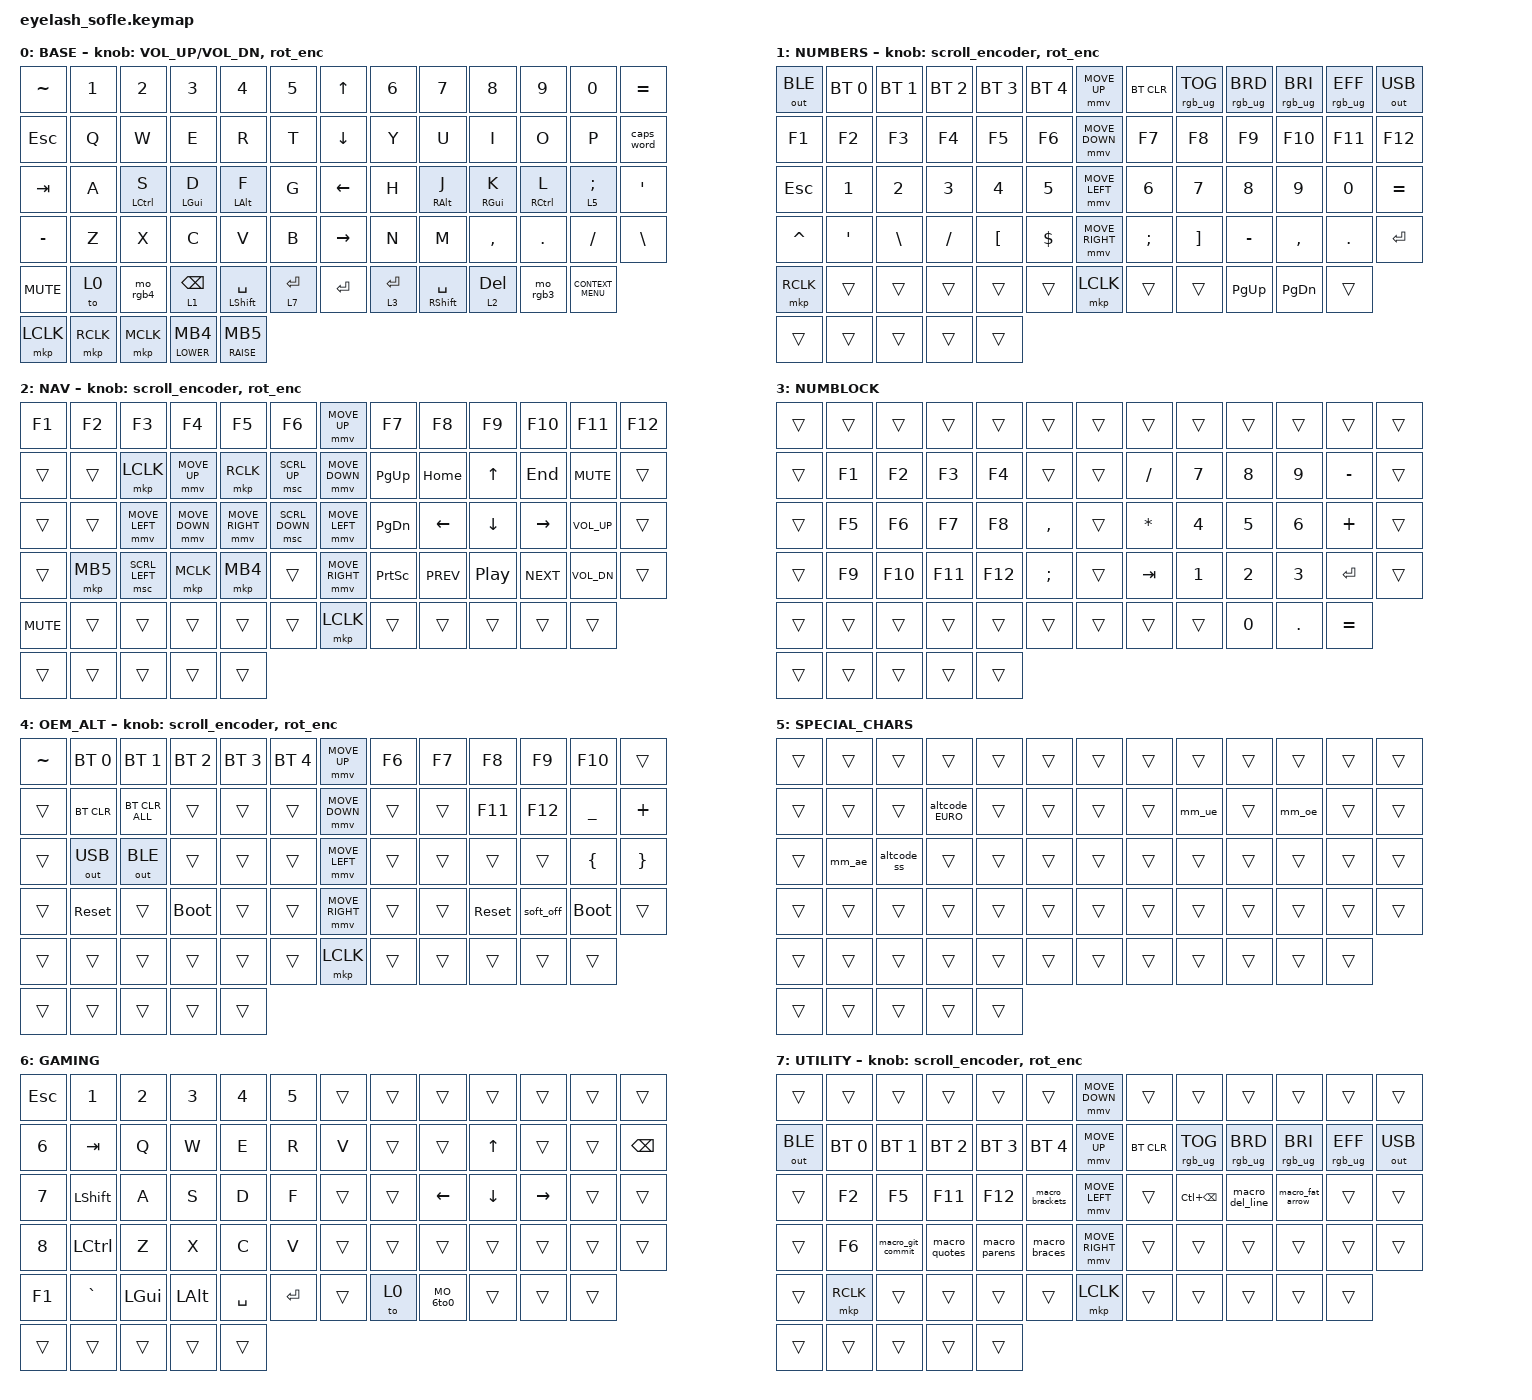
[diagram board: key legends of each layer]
#define ZMK_POINTING_DEFAULT_MOVE_VAL 1200  // 600
#define ZMK_POINTING_DEFAULT_SCRL_VAL 25   // 10

#include <input/processors.dtsi>
#include <zephyr/dt-bindings/input/input-event-codes.h>
#include <behaviors.dtsi>
#include <dt-bindings/zmk/bt.h>
#include <dt-bindings/zmk/keys.h>
#include <dt-bindings/zmk/outputs.h>
#include <dt-bindings/zmk/matrix_transform.h>
#include <dt-bindings/zmk/pointing.h>
#include <dt-bindings/zmk/rgb.h>

#define BASE 0
#define LOWER 1
#define RAISE 2
#define ADJUST 3

/ {
    default_transform: keymap_transform_0 {
        compatible = "zmk,matrix-transform";
        columns = <14>;
        rows = <6>;
        map = <
            RC(0,0) RC(0,1) RC(0,2) RC(0,3) RC(0,4) RC(0,5)  RC(0,7) RC(0,8) RC(0,9) RC(0,10) RC(0,11) RC(0,12) RC(0,13)
            RC(1,0) RC(1,1) RC(1,2) RC(1,3) RC(1,4) RC(1,5)  RC(1,7) RC(1,8) RC(1,9) RC(1,10) RC(1,11) RC(1,12) RC(1,13)
            RC(2,0) RC(2,1) RC(2,2) RC(2,3) RC(2,4) RC(2,5)  RC(2,7) RC(2,8) RC(2,9) RC(2,10) RC(2,11) RC(2,12) RC(2,13)
            RC(3,0) RC(3,1) RC(3,2) RC(3,3) RC(3,4) RC(3,5)  RC(3,7) RC(3,8) RC(3,9) RC(3,10) RC(3,11) RC(3,12) RC(3,13)
            RC(4,0) RC(4,1) RC(4,2) RC(4,3) RC(4,4) RC(4,5)  RC(4,7) RC(4,8) RC(4,9) RC(4,10) RC(4,11) RC(4,12)
            RC(5,0) RC(5,1) RC(5,2) RC(5,3) RC(5,4)
        >;
    };
};

&mmv_input_listener { input-processors = <&zip_xy_scaler 2 1>; };

&msc_input_listener { input-processors = <&zip_scroll_scaler 2 1>; };

&msc {
    acceleration-exponent = <1>;      // 0
    time-to-max-speed-ms = <100>;       // 300
    delay-ms = <0>;                   // 0
};

&mmv {
    time-to-max-speed-ms = <500>;
    acceleration-exponent = <2>;
    trigger-period-ms = <16>;
};

&mt {
    flavor = "balanced";
    quick-tap-ms = <175>;
    tapping-term-ms = <300>;
    require-prior-idle-ms = <150>;
};

&lt {
    flavor = "balanced";
    quick-tap-ms = <175>;
    tapping-term-ms = <300>;
    require-prior-idle-ms = <150>;
};

/ {
    scroll_encoder: scroll_encoder {
        compatible = "zmk,behavior-sensor-rotate";
        #sensor-binding-cells = <0>;
        bindings = <&msc SCRL_DOWN>, <&msc SCRL_UP>;

        tap-ms = <100>;
    };

    rot_enc: sensor_rotate_ufa {
        compatible = "zmk,behavior-sensor-rotate";
        #sensor-binding-cells = <0>;
        bindings = <&ec_s MOVE_Y(-37)>, <&ec_s MOVE_Y(37)>;
        tap-ms = <65>;
    };

    behaviors {
        u_lt_mouse: u_lt_mouse {
            compatible = "zmk,behavior-hold-tap";
            #binding-cells = <2>;
            tapping-term-ms = <200>;
            quick-tap-ms = <200>;
            flavor = "tap-preferred";
            bindings = <&mo>, <&mkp>;
        };

        ec_s: mouse_scroll {
            compatible = "zmk,behavior-input-two-axis";
            #binding-cells = <1>;
            trigger-period-ms = <3>;
            x-input-code = <INPUT_REL_HWHEEL>;
            y-input-code = <INPUT_REL_WHEEL>;
            time-to-max-speed-ms = <100>;
            acceleration-exponent = <0>;
        };
        mm_ae: mm_ae {
            compatible = "zmk,behavior-mod-morph";
            #binding-cells = <0>;
            bindings = <&altcode_ae>, <&altcode_ae_upper>;
            mods = <(MOD_LSFT | MOD_RSFT)>;
        };

        mm_oe: mm_oe {
            compatible = "zmk,behavior-mod-morph";
            #binding-cells = <0>;
            bindings = <&altcode_oe>, <&altcode_oe_upper>;
            mods = <(MOD_LSFT | MOD_RSFT)>;
        };

        mm_ue: mm_ue {
            compatible = "zmk,behavior-mod-morph";
            #binding-cells = <0>;
            bindings = <&altcode_ue>, <&altcode_ue_upper>;
            mods = <(MOD_LSFT | MOD_RSFT)>;
        };
    };

    combos {
        compatible = "zmk,combos";

        combo_n1 {
            bindings = <&kp N1>;
            key-positions = <14 27>;
            layers = <0>;
        };
        combo_n2 {
            bindings = <&kp N2>;
            key-positions = <15 28>;
            layers = <0>;
        };
        combo_n3 {
            bindings = <&kp N3>;
            key-positions = <16 29>;
            layers = <0>;
        };
        combo_n4 {
            bindings = <&kp N4>;
            key-positions = <17 30>;
            layers = <0>;
        };
        combo_n5 {
            bindings = <&kp N5>;
            key-positions = <18 31>;
            layers = <0>;
        };
        combo_n6 {
            bindings = <&kp N6>;
            key-positions = <20 33>;
            layers = <0>;
        };
        combo_n7 {
            bindings = <&kp N7>;
            key-positions = <21 34>;
            layers = <0>;
        };
        combo_n8 {
            bindings = <&kp N8>;
            key-positions = <22 35>;
            layers = <0>;
        };
        combo_n9 {
            bindings = <&kp N9>;
            key-positions = <23 36>;
            layers = <0>;
        };
        combo_n0 {
            bindings = <&kp N0>;
            key-positions = <24 37>;
            layers = <0>;
        };

        combo_esc {
            bindings = <&kp ESC>;
            key-positions = <17 18>;
            layers = <0>;
        };
        combo_tab {
            bindings = <&kp TAB>;
            key-positions = <30 31>;
            layers = <0>;
        };
        combo_grave {
            bindings = <&kp GRAVE>;
            key-positions = <28 41>;
            layers = <0>;
        };
        combo_equal {
            bindings = <&kp EQUAL>;
            key-positions = <29 42>;
            layers = <0>;
        };
        combo_lbkt {
            bindings = <&kp LBKT>;
            key-positions = <30 43>;
            layers = <0>;
        };

        combo_rbkt {
            bindings = <&kp RBKT>;
            key-positions = <34 47>;
            layers = <0>;
        };
        combo_minus {
            bindings = <&kp MINUS>;
            key-positions = <33 34>;
            layers = <0>;
        };
        combo_bslh {
            bindings = <&kp BSLH>;
            key-positions = <35 48>;
            layers = <0>;
        };
        combo_sqt {
            bindings = <&kp SQT>;
            key-positions = <36 49>;
            layers = <0>;
        };
        combo_capsword {
            bindings = <&caps_word>;
            key-positions = <46 47>;
            layers = <0>;
        };

        combo_delword {
            bindings = <&kp LC(BSPC)>;
            key-positions = <20 21>;
            layers = <0>;
        };

        combo_hardrefresh {
            bindings = <&kp LC(LS(R))>;
            key-positions = <43 44>;
            layers = <0>;
        };

        Escape_0 {
            bindings = <&to 0>;
            key-positions = <0 57>;
        };

        GT_6 {
            bindings = <&to 6>;
            key-positions = <57 1>;
        };
    };

    macros {
        mo_rgb1: mo_rgb1 {
            compatible = "zmk,behavior-macro";
            #binding-cells = <0>;
            bindings =
                <&rgb_ug RGB_COLOR_HSB(122,100,50) &mo 1>,
                <&macro_pause_for_release>,
                <&rgb_ug RGB_COLOR_HSB(179,100,50)>;

            label = "MO_RGB1";
        };

        mo_rgb2: mo_rgb2 {
            compatible = "zmk,behavior-macro";
            #binding-cells = <0>;
            bindings =
                <&rgb_ug RGB_COLOR_HSB(289,100,50) &mo 2>,
                <&macro_pause_for_release>,
                <&rgb_ug RGB_COLOR_HSB(179,100,50)>;

            label = "MO_RGB2";
        };

        mo_rgb3: mo_rgb3 {
            compatible = "zmk,behavior-macro";
            #binding-cells = <0>;
            bindings =
                <&tog 3 &rgb_ug RGB_COLOR_HSB(59,100,50)>,
                <&macro_pause_for_release>,
                <&rgb_ug RGB_COLOR_HSB(179,100,50) &tog 3>;

            label = "MO_RGB3";
        };

        mo_rgb4: mo_rgb4 {
            compatible = "zmk,behavior-macro";
            #binding-cells = <0>;
            bindings =
                <&tog 4 &rgb_ug RGB_COLOR_HSB(360,100,50)>,
                <&macro_pause_for_release>,
                <&rgb_ug RGB_COLOR_HSB(179,100,50) &tog 4>;

            label = "MO_RGB4";
        };

        altcode_ae: new_macro {
            compatible = "zmk,behavior-macro";
            #binding-cells = <0>;
            bindings = <&kt RIGHT_ALT &kp KP_NUMBER_0 &kp KP_NUMBER_2 &kp KP_NUMBER_2 &kp KP_NUMBER_8 &kt RIGHT_ALT>;
            label = "NEW_MACRO";
        };

        altcode_oe: altcode_oe {
            compatible = "zmk,behavior-macro";
            #binding-cells = <0>;
            bindings = <&kt RIGHT_ALT &kp KP_NUMBER_0 &kp KP_NUMBER_2 &kp KP_NUMBER_4 &kp KP_NUMBER_6 &kt RIGHT_ALT>;
            label = "ALTCODE_OE";
        };

        altcode_ue: altcode_ue {
            compatible = "zmk,behavior-macro";
            #binding-cells = <0>;
            bindings = <&kt RIGHT_ALT &kp KP_NUMBER_0 &kp KP_NUMBER_2 &kp KP_NUMBER_5 &kp KP_NUMBER_2 &kt RIGHT_ALT>;
            label = "ALTCODE_UE";
        };

        altcode_ss: altcode_ss {
            compatible = "zmk,behavior-macro";
            #binding-cells = <0>;
            bindings = <&kt RIGHT_ALT &kp KP_NUMBER_0 &kp KP_NUMBER_2 &kp KP_NUMBER_2 &kp KP_NUMBER_3 &kt RIGHT_ALT>;
            label = "ALTCODE_SS";
        };

        MO_6to0: MO_0 {
            compatible = "zmk,behavior-macro";
            #binding-cells = <0>;
            bindings = <&to 0>, <&macro_pause_for_release>, <&to 6>;

            label = "MO_0";
        };

        macro_fat_arrow: macro_fat_arrow {
            compatible = "zmk,behavior-macro";
            #binding-cells = <0>;
            bindings = <&kp LPAR &kp RPAR &kp SPACE &kp EQUAL &kp GT &kp SPACE &kp LBRC &kp RBRC &kp LEFT>;
            label = "MACRO_FAT_ARROW";
        };

        macro_del_line: macro_del_line {
            compatible = "zmk,behavior-macro";
            #binding-cells = <0>;
            bindings = <&kp HOME &kp LS(END) &kp BSPC>;
            label = "MACRO_DEL_LINE";
        };

        macro_quotes: macro_quotes {
            compatible = "zmk,behavior-macro";
            #binding-cells = <0>;
            bindings = <&kp DQT &kp DQT &kp LEFT>;
            label = "MACRO_QUOTES";
        };

        macro_parens: macro_parens {
            compatible = "zmk,behavior-macro";
            #binding-cells = <0>;
            bindings = <&kp LPAR &kp RPAR &kp LEFT>;
            label = "MACRO_PARENS";
        };

        macro_brackets: macro_brackets {
            compatible = "zmk,behavior-macro";
            #binding-cells = <0>;
            bindings = <&kp LBKT &kp RBKT &kp LEFT>;
            label = "MACRO_BRACKETS";
        };

        macro_braces: macro_braces {
            compatible = "zmk,behavior-macro";
            #binding-cells = <0>;
            bindings = <&kp LBRC &kp RBRC &kp LEFT>;
            label = "MACRO_BRACES";
        };

        macro_git_commit: macro_git_commit {
            compatible = "zmk,behavior-macro";
            #binding-cells = <0>;
            bindings = <&kp G &kp I &kp T &kp SPACE &kp C &kp O &kp M &kp M &kp I &kp T &kp SPACE &kp MINUS &kp M &kp SPACE &kp DQT &kp DQT &kp LEFT>;
            label = "MACRO_GIT_COMMIT";
        };

        altcode_ae_upper: altcode_ae_upper {
            compatible = "zmk,behavior-macro";
            #binding-cells = <0>;
            bindings = <&kt RIGHT_ALT &kp KP_NUMBER_0 &kp KP_NUMBER_1 &kp KP_NUMBER_9 &kp KP_NUMBER_6 &kt RIGHT_ALT>;
            label = "ALTCODE_AE_UPPER";
        };

        altcode_oe_upper: altcode_oe_upper {
            compatible = "zmk,behavior-macro";
            #binding-cells = <0>;
            bindings = <&kt RIGHT_ALT &kp KP_NUMBER_0 &kp KP_NUMBER_2 &kp KP_NUMBER_1 &kp KP_NUMBER_4 &kt RIGHT_ALT>;
            label = "ALTCODE_OE_UPPER";
        };

        altcode_ue_upper: altcode_ue_upper {
            compatible = "zmk,behavior-macro";
            #binding-cells = <0>;
            bindings = <&kt RIGHT_ALT &kp KP_NUMBER_0 &kp KP_NUMBER_2 &kp KP_NUMBER_2 &kp KP_NUMBER_0 &kt RIGHT_ALT>;
            label = "ALTCODE_UE_UPPER";
        };

        altcode_EURO: altcode_EURO {
            compatible = "zmk,behavior-macro";
            #binding-cells = <0>;
            bindings = <&kt RIGHT_ALT &kp KP_NUMBER_0 &kp KP_NUMBER_1 &kp KP_NUMBER_2 &kp KP_NUMBER_8 &kt RIGHT_ALT>;
            label = "ALTCODE_EURO";
        };
    };

    keymap {
        compatible = "zmk,keymap";

        layer0 {
            bindings = <
&kp TILDE   &kp N1  &kp N2       &kp N3           &kp N4                &kp N5                  &kp UP_ARROW     &kp N6                 &kp N7                 &kp N8        &kp N9               &kp N0              &kp EQUAL
&kp ESCAPE  &kp Q   &kp W        &kp E            &kp R                 &kp T                   &kp DOWN_ARROW   &kp Y                  &kp U                  &kp I         &kp O                &kp P               &caps_word
&kp TAB     &kp A   &mt LCTRL S  &mt LGUI D       &mt LALT F            &kp G                   &kp LEFT_ARROW   &kp H                  &mt RIGHT_ALT J        &mt RGUI K    &mt RIGHT_CONTROL L  &lt 5 SEMICOLON     &kp SQT
&kp MINUS   &kp Z   &kp X        &kp C            &kp V                 &kp B                   &kp RIGHT_ARROW  &kp N                  &kp M                  &kp COMMA     &kp DOT              &kp FSLH            &kp BACKSLASH
&kp K_MUTE  &to 0   &mo_rgb4     &lt 1 BACKSPACE  &mt LEFT_SHIFT SPACE  &lt 7 ENTER             &kp ENTER        &lt 3 ENTER            &mt RIGHT_SHIFT SPACE  &lt 2 DELETE  &mo_rgb3             &kp K_CONTEXT_MENU
&mkp LCLK  &mkp RCLK  &mkp MCLK  &u_lt_mouse LOWER MB4  &u_lt_mouse RAISE MB5
            >;

            sensor-bindings = <&inc_dec_kp C_VOLUME_UP C_VOL_DN &rot_enc>;
            display-name = "BASE";
        };

        NUMBERS {
            bindings = <
&out OUT_BLE  &bt BT_SEL 0  &bt BT_SEL 1  &bt BT_SEL 2  &bt BT_SEL 3  &bt BT_SEL 4    &mmv MOVE_UP     &bt BT_CLR  &rgb_ug RGB_TOG  &rgb_ug RGB_BRD  &rgb_ug RGB_BRI  &rgb_ug RGB_EFF  &out OUT_USB
&kp F1        &kp F2        &kp F3        &kp F4        &kp F5        &kp F6          &mmv MOVE_DOWN   &kp F7      &kp F8           &kp F9           &kp F10          &kp F11          &kp F12
&kp ESC       &kp N1        &kp N2        &kp N3        &kp N4        &kp N5          &mmv MOVE_LEFT   &kp N6      &kp N7           &kp N8           &kp N9           &kp N0           &kp EQUAL
&kp CARET     &kp APOS      &kp BSLH      &kp FSLH      &kp LBKT      &kp DOLLAR      &mmv MOVE_RIGHT  &kp SEMI    &kp RBKT         &kp MINUS        &kp COMMA        &kp DOT          &kp ENTER
&mkp RCLK     &trans        &trans        &trans        &trans        &trans          &mkp LCLK        &trans      &trans           &kp PAGE_UP      &kp PAGE_DOWN    &trans
&trans &trans &trans &trans &trans
            >;

            sensor-bindings = <&scroll_encoder &rot_enc>;
            display-name = "NUMBERS";
        };

        NAV {
            bindings = <
&kp F1      &kp F2           &kp F3          &kp F4           &kp F5           &kp F6             &mmv MOVE_UP     &kp F7           &kp F8           &kp F9           &kp F10      &kp F11           &kp F12
&trans      &trans           &mkp LCLK       &mmv MOVE_UP     &mkp RCLK        &msc SCRL_UP       &mmv MOVE_DOWN   &kp PG_UP        &kp HOME         &kp UP           &kp END      &kp C_MUTE        &trans
&trans      &trans           &mmv MOVE_LEFT  &mmv MOVE_DOWN   &mmv MOVE_RIGHT  &msc SCRL_DOWN     &mmv MOVE_LEFT   &kp PG_DN        &kp LEFT         &kp DOWN         &kp RIGHT    &kp C_VOL_UP      &trans
&trans      &mkp MB5         &msc SCRL_LEFT  &mkp MCLK        &mkp MB4         &trans             &mmv MOVE_RIGHT  &kp PSCRN        &kp C_PREV       &kp C_PLAY_PAUSE &kp C_NEXT   &kp C_VOL_DN      &trans
&kp C_MUTE  &trans           &trans          &trans           &trans           &trans             &mkp LCLK        &trans           &trans           &trans           &trans       &trans
&trans &trans &trans &trans &trans
            >;

            sensor-bindings = <&scroll_encoder &rot_enc>;
            display-name = "NAV";
        };

        NUMBLOCK {
            bindings = <
&trans  &trans  &trans   &trans   &trans   &trans    &trans  &trans        &trans  &trans  &trans  &trans     &trans
&trans  &kp F1  &kp F2   &kp F3   &kp F4   &trans    &trans  &kp SLASH     &kp N7  &kp N8  &kp N9  &kp MINUS  &trans
&trans  &kp F5  &kp F6   &kp F7   &kp F8   &kp COMMA &trans  &kp ASTERISK  &kp N4  &kp N5  &kp N6  &kp PLUS   &trans
&trans  &kp F9  &kp F10  &kp F11  &kp F12  &kp SEMICOLON    &trans  &kp TAB       &kp N1  &kp N2  &kp N3  &kp ENTER  &trans
&trans  &trans  &trans   &trans   &trans   &trans    &trans  &trans        &trans  &kp N0  &kp DOT &kp EQUAL
&trans &trans &trans &trans &trans
            >;

            display-name = "NUMBLOCK";
        };

        OEM_ALT {
            bindings = <
&kp TILDE  &bt BT_SEL 0  &bt BT_SEL 1    &bt BT_SEL 2  &bt BT_SEL 3  &bt BT_SEL 4    &mmv MOVE_UP     &kp F6  &kp F7  &kp F8      &kp F9     &kp F10      &trans
&trans     &bt BT_CLR    &bt BT_CLR_ALL  &trans        &trans        &trans          &mmv MOVE_DOWN   &trans  &trans  &kp F11     &kp F12    &kp UNDER    &kp PLUS
&trans     &out OUT_USB  &out OUT_BLE    &trans        &trans        &trans          &mmv MOVE_LEFT   &trans  &trans  &trans      &trans     &kp LBRC     &kp RBRC
&trans     &sys_reset    &trans          &bootloader   &trans        &trans          &mmv MOVE_RIGHT  &trans  &trans  &sys_reset  &soft_off  &bootloader  &trans
&trans     &trans        &trans          &trans        &trans        &trans          &mkp LCLK        &trans  &trans  &trans      &trans     &trans
&trans &trans &trans &trans &trans
            >;

            sensor-bindings = <&scroll_encoder &rot_enc>;
            display-name = "OEM_ALT";
        };

        SPECIAL_CHARS {
            bindings = <
&trans  &trans  &trans  &trans  &trans  &trans    &trans  &trans  &trans  &trans  &trans  &trans  &trans
&trans  &trans  &trans  &altcode_EURO  &trans  &trans    &trans  &trans  &mm_ue  &trans  &mm_oe  &trans  &trans
&trans  &mm_ae  &altcode_ss  &trans  &trans  &trans    &trans  &trans  &trans  &trans  &trans  &trans  &trans
&trans  &trans  &trans  &trans  &trans  &trans    &trans  &trans  &trans  &trans  &trans  &trans  &trans
&trans  &trans  &trans  &trans  &trans  &trans    &trans  &trans  &trans  &trans  &trans  &trans
&trans &trans &trans &trans &trans
            >;

            display-name = "SPECIAL_CHARS";
        };

        GAMING {
            bindings = <
&kp ESC  &kp N1     &kp N2    &kp N3    &kp N4     &kp N5       &trans  &trans  &trans    &trans    &trans     &trans  &trans
&kp N6   &kp TAB    &kp Q     &kp W     &kp E      &kp R        &kp V   &trans  &trans    &kp UP    &trans     &trans  &kp BSPC
&kp N7   &kp LSHFT  &kp A     &kp S     &kp D      &kp F        &trans  &trans  &kp LEFT  &kp DOWN  &kp RIGHT  &trans  &trans
&kp N8   &kp LCTRL  &kp Z     &kp X     &kp C      &kp V        &trans  &trans  &trans    &trans    &trans     &trans  &trans
&kp F1   &kp GRAVE  &kp LGUI  &kp LALT  &kp SPACE  &kp ENTER    &trans  &to 0   &MO_6to0  &trans    &trans     &trans
&trans &trans &trans &trans &trans
            >;

            display-name = "GAMING";
        };

        UTILITY {
            bindings = <
&trans        &trans        &trans        &trans        &trans        &trans          &mmv MOVE_DOWN   &trans      &trans           &trans           &trans           &trans           &trans
&out OUT_BLE  &bt BT_SEL 0  &bt BT_SEL 1  &bt BT_SEL 2  &bt BT_SEL 3  &bt BT_SEL 4    &mmv MOVE_UP     &bt BT_CLR  &rgb_ug RGB_TOG  &rgb_ug RGB_BRD  &rgb_ug RGB_BRI  &rgb_ug RGB_EFF  &out OUT_USB
&trans        &kp F2        &kp F5        &kp F11       &kp F12       &macro_brackets &mmv MOVE_LEFT   &trans      &kp LC(BSPC)     &macro_del_line  &macro_fat_arrow &trans           &trans
&trans        &kp F6        &macro_git_commit &macro_quotes &macro_parens &macro_braces   &mmv MOVE_RIGHT  &trans      &trans           &trans           &trans           &trans           &trans
&trans        &mkp RCLK     &trans        &trans        &trans        &trans          &mkp LCLK        &trans      &trans           &trans           &trans           &trans
&trans &trans &trans &trans &trans
            >;

            sensor-bindings = <&scroll_encoder &rot_enc>;
            display-name = "UTILITY";
        };
    };

    conditional_layers {
        compatible = "zmk,conditional-layers";

        layer_2 {
            if-layers = <1 3>;
            then-layer = <4>;
        };
    };
};
